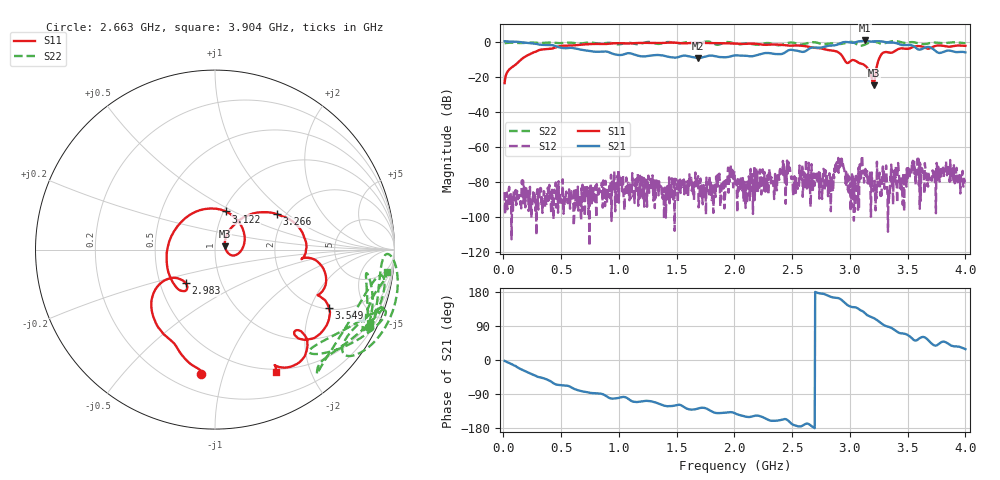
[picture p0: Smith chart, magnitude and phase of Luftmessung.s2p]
!  26/06/2026  14:16:24
! Ref Plane: 0.000 mm
# MHZ S MA R  50
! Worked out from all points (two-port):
!   1001 points, 10 MHz to 4 GHz, reference 50 ohm
!   highest |S21| = 0.72 dB at 3.13 GHz (marker M1); lowest = -9.2 dB at 1.682 GHz (marker M2)
!   |S21| within 3 dB of the highest: start of sweep to 439.6 MHz; 2.818 GHz to 3.545 GHz (727.3 MHz wide, 22.9 % of centre)
!   lowest |S11| = -24.7 dB at 3.206 GHz (marker M3), VSWR 1.12, Z = 55.8 + j2.11 ohm
!   |S11| at or under -10 dB: start of sweep to 156 MHz; 2.951 GHz to 3.251 GHz (300.2 MHz wide, 9.68 % of centre)
!   |S22| runs from -2.3 to 0.4 dB; largest |S21 - S12| = 1.1
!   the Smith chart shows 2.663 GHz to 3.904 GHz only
!   S11 on the Smith chart (normalised r, x): 2.663 GHz: 0.31, -0.84; 2.983 GHz: 0.68, -0.27; 3.122 GHz: 1.02, +0.46; 3.266 GHz: 1.81, +0.85; 3.549 GHz: 2.06, -2.72; 3.904 GHz: 0.47, -1.51
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10  0.06605 81.7  1.03 -2.4  5.228e-05 -42.4  0.9101 -20.1
249.4  0.4778 49.4  0.8963 -38.0  2.415e-05 -34.9  0.9469 -17.4
676.33  0.8236 13.0  0.5902 -82.2  6.797e-05 -179.2  0.8966 -24.2
1342.66  0.9163 -20.8  0.4184 -115.0  4.203e-05 -19.6  0.865 -21.6
1681.81  0.9341 -35.9  0.3457 -128.5  0.0001296 -138.5  0.8513 -34.0
1917.22  0.9059 -47.9  0.3609 -139.1  3.583e-05 122.1  0.96 -46.7
2005  0.8873 -52.9  0.4087 -140.7  7.912e-05 45.0  0.8847 -17.0
2663.35  0.6953 -96.5  0.6712 -173.4  5.364e-05 -111.0  0.9576 -26.6
2671.33  0.6875 -96.8  0.6794 -175.3  7.952e-05 69.3  0.9646 -22.6
2723.2  0.6634 -99.4  0.6756 176.9  0.0001389 -15.8  0.9241 -9.2
2834.92  0.5647 -115.0  0.7754 166.6  1.488e-05 -92.8  0.896 -50.6
2918.71  0.4477 -142.0  0.9097 160.5  0.0003145 -147.7  0.8628 -44.1
2982.55  0.2483 -131.0  0.9716 144.2  5.923e-05 79.1  0.9645 -23.7
3122.2  0.2211 74.2  1.083 125.9  9.698e-05 -135.1  0.8097 -45.9
3130.18  0.2109 59.7  1.087 123.5  0.0001587 -20.1  0.8315 -44.1
3205.99  0.05806 19.0  1.019 110.9  5.541e-05 12.2  1.015 -20.4
3265.84  0.3991 29.6  1.029 98.4  4.048e-05 127.3  0.8883 -30.1
3337.66  0.4923 -5.3  0.9438 87.3  2.591e-05 -160.3  0.9855 -36.1
3445.39  0.6462 -17.1  0.813 70.4  6.077e-05 -80.9  0.9658 -1.5
3549.13  0.7136 -27.1  0.7551 54.0  0.0002276 1.6  0.9701 -27.6
3904.24  0.7602 -63.5  0.5162 35.9  0.0001327 24.0  0.9651 -7.6
4000  0.7624 -70.0  0.4975 28.6  0.000113 17.1  0.9038 -9.6
